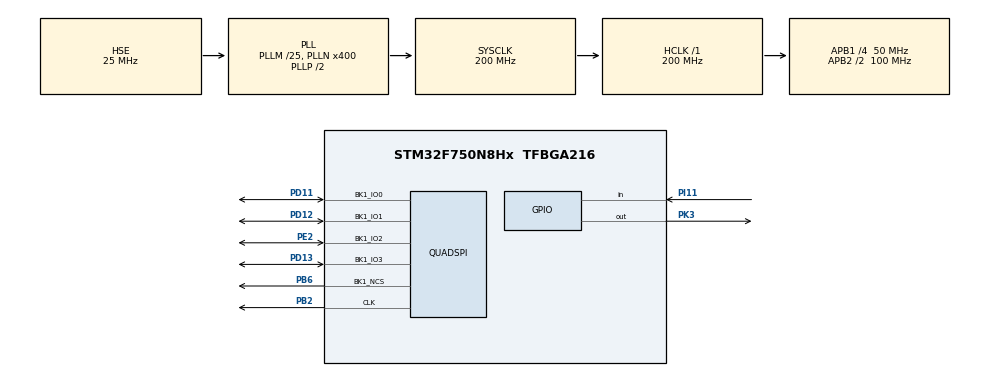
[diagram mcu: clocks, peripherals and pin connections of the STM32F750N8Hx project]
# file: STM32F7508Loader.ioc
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CORTEX_M7.ART_ACCLERATOR_ENABLE=1
CORTEX_M7.CPU_DCache=Enabled
CORTEX_M7.CPU_ICache=Enabled
CORTEX_M7.PREFETCH_ENABLE=1
Mcu.Family=STM32F7
Mcu.Name=STM32F750N8Hx
Mcu.Package=TFBGA216
NVIC.PriorityGroup=NVIC_PRIORITYGROUP_4
PA13.Mode=Serial_Wire
PA13.Signal=SYS_JTMS-SWDIO
PA14.Mode=Serial_Wire
PA14.Signal=SYS_JTCK-SWCLK
PB2.Mode=Single Bank 1
PB2.Signal=QUADSPI_CLK
PB6.Mode=Single Bank 1
PB6.Signal=QUADSPI_BK1_NCS
PC14/OSC32_IN.Mode=LSE-External-Oscillator
PC14/OSC32_IN.Signal=RCC_OSC32_IN
PC15/OSC32_OUT.Mode=LSE-External-Oscillator
PC15/OSC32_OUT.Signal=RCC_OSC32_OUT
PD11.Mode=Single Bank 1
PD11.Signal=QUADSPI_BK1_IO0
PD12.Mode=Single Bank 1
PD12.Signal=QUADSPI_BK1_IO1
PD13.Mode=Single Bank 1
PD13.Signal=QUADSPI_BK1_IO3
PE2.Mode=Single Bank 1
PE2.Signal=QUADSPI_BK1_IO2
PH0/OSC_IN.Mode=HSE-External-Oscillator
PH0/OSC_IN.Signal=RCC_OSC_IN
PH1/OSC_OUT.Mode=HSE-External-Oscillator
PH1/OSC_OUT.Signal=RCC_OSC_OUT
PI11.Signal=GPIO_Input
PK3.Signal=GPIO_Output
ProjectManager.HeapSize=0x200
ProjectManager.StackSize=0x400
ProjectManager.TargetToolchain=STM32CubeIDE
QUADSPI.ChipSelectHighTime=QSPI_CS_HIGH_TIME_6_CYCLE
QUADSPI.ClockPrescaler=1
QUADSPI.FifoThreshold=4
QUADSPI.FlashSize=24
QUADSPI.SampleShifting=QSPI_SAMPLE_SHIFTING_HALFCYCLE
RCC.AHBFreq_Value=200000000
RCC.APB1CLKDivider=RCC_HCLK_DIV4
RCC.APB1Freq_Value=50000000
RCC.APB1TimFreq_Value=100000000
RCC.APB2CLKDivider=RCC_HCLK_DIV2
RCC.APB2Freq_Value=100000000
RCC.APB2TimFreq_Value=200000000
RCC.CortexFreq_Value=200000000
RCC.HCLKFreq_Value=200000000
RCC.HSE_VALUE=25000000
RCC.HSI_VALUE=16000000
RCC.PLLM=25
RCC.PLLN=400
RCC.PLLSourceVirtual=RCC_PLLSOURCE_HSE
RCC.RTCClockSelection=RCC_RTCCLKSOURCE_LSE
RCC.SYSCLKFreq_VALUE=200000000
RCC.SYSCLKSource=RCC_SYSCLKSOURCE_PLLCLK
RCC.USBFreq_Value=200000000
RCC.VCOOutputFreq_Value=400000000
VP_RTC_VS_RTC_Activate.Mode=RTC_Enabled
board=custom

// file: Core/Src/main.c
/* USER CODE BEGIN Header */
/**
  ******************************************************************************
  * @file           : main.c
  * @brief          : Main program body
  ******************************************************************************
  * @attention
  *
  * <h2><center>&copy; Copyright (c) 2021 STMicroelectronics.
  * All rights reserved.</center></h2>
  *
  * This software component is licensed by ST under BSD 3-Clause license,
  * the "License"; You may not use this file except in compliance with the
  * License. You may obtain a copy of the License at:
  *                        opensource.org/licenses/BSD-3-Clause
  *
  ******************************************************************************
  */
/* USER CODE END Header */
#include "main.h"
#include "quadspi.h"
#include "rtc.h"
#include "gpio.h"

/* USER CODE BEGIN Includes */
#include <string.h>
/* USER CODE END Includes */

void SystemClock_Config(void);

/* USER CODE BEGIN 0 */
#define main bl_main

#define SECTORS_COUNT 5

uint8_t buffer_test[MEMORY_SECTOR_SIZE];

typedef void(*pFunction)(void);
pFunction JumpToApplication;
#define APP_ADDRESS 0x90000000
#define APP_STACK   (APP_ADDRESS + 0)
#define APP_RESET_HANDLER (APP_ADDRESS + 4)

void JumpToAPP(void)
{
    uint32_t JumpAddress = *(__IO uint32_t*)APP_RESET_HANDLER;
    JumpToApplication = (pFunction)JumpAddress;
    __set_MSP(*(__IO uint32_t*)APP_STACK);
    JumpToApplication();
}
/* USER CODE END 0 */

int main(void)
{
  /* USER CODE BEGIN 1 */
  //uint32_t var = 0;
  /* USER CODE END 1 */

  /* Enable I-Cache---------------------------------------------------------*/
  SCB_EnableICache();

  /* Enable D-Cache---------------------------------------------------------*/
  SCB_EnableDCache();

  /* MCU Configuration--------------------------------------------------------*/

  /* Reset of all peripherals, Initializes the Flash interface and the Systick. */
  HAL_Init();

  /* Configure the system clock */
  SystemClock_Config();

  /* USER CODE BEGIN SysInit */
//
  /* USER CODE END SysInit */

  /* Initialize all configured peripherals */
  MX_GPIO_Init();
  MX_QUADSPI_Init();
  MX_RTC_Init();
  /* USER CODE BEGIN 2 */
  CSP_QUADSPI_Init();
//  for (var = 0; var < MEMORY_SECTOR_SIZE; var++) {
//      buffer_test[var] = (var & 0xFF);
//  }
//  for (var = 0; var < SECTORS_COUNT; var++) {
//      if (CSP_QSPI_EraseSector(var * MEMORY_SECTOR_SIZE, (var + 1) * MEMORY_SECTOR_SIZE - 1) != HAL_OK) {
//          while (1) {}
//      }
//      if (CSP_QSPI_WriteMemory(buffer_test, var * MEMORY_SECTOR_SIZE, sizeof(buffer_test)) != HAL_OK) {
//          while (1) {}
//      }
//  }
  if (CSP_QSPI_EnableMemoryMappedMode() != HAL_OK) {
      while (1) {}
  }
//  for (var = 0; var < SECTORS_COUNT; var++) {
//      if (memcmp(buffer_test, (uint8_t*) (0x90000000 + var * MEMORY_SECTOR_SIZE), MEMORY_SECTOR_SIZE) != HAL_OK) {
//          while (1) {}
//      }
//  }
//  HAL_Delay(1000);

  SCB_DisableICache();
  SCB_DisableDCache();
  HAL_DeInit();
  SysTick->CTRL = 0;

  JumpToAPP();
  /* USER CODE END 2 */

  /* Infinite loop */
  while (1)
  {

    /* USER CODE BEGIN 3 */

//	 HAL_GPIO_TogglePin(GPIOK, GPIO_PIN_3);
//	if(HAL_GPIO_ReadPin(GPIOI ,GPIO_PIN_11))
//	{
//		SysTick->CTRL = 0;
//		JumpToAPP();
//	}
//	HAL_Delay(1000);
  }
  /* USER CODE END 3 */
}

void SystemClock_Config(void)
{
  RCC_OscInitTypeDef RCC_OscInitStruct = {0};
  RCC_ClkInitTypeDef RCC_ClkInitStruct = {0};
  RCC_PeriphCLKInitTypeDef PeriphClkInitStruct = {0};

  /** Configure LSE Drive Capability
  */
  HAL_PWR_EnableBkUpAccess();
  __HAL_RCC_LSEDRIVE_CONFIG(RCC_LSEDRIVE_LOW);
  /** Configure the main internal regulator output voltage
  */
  __HAL_RCC_PWR_CLK_ENABLE();
  __HAL_PWR_VOLTAGESCALING_CONFIG(PWR_REGULATOR_VOLTAGE_SCALE1);
  /** Initializes the RCC Oscillators according to the specified parameters
  * in the RCC_OscInitTypeDef structure.
  */
  RCC_OscInitStruct.OscillatorType = RCC_OSCILLATORTYPE_HSE|RCC_OSCILLATORTYPE_LSE;
  RCC_OscInitStruct.HSEState = RCC_HSE_ON;
  RCC_OscInitStruct.LSEState = RCC_LSE_ON;
  RCC_OscInitStruct.PLL.PLLState = RCC_PLL_ON;
  RCC_OscInitStruct.PLL.PLLSource = RCC_PLLSOURCE_HSE;
  RCC_OscInitStruct.PLL.PLLM = 25;
  RCC_OscInitStruct.PLL.PLLN = 400;
  RCC_OscInitStruct.PLL.PLLP = RCC_PLLP_DIV2;
  RCC_OscInitStruct.PLL.PLLQ = 2;
  if (HAL_RCC_OscConfig(&RCC_OscInitStruct) != HAL_OK)
  {
    Error_Handler();
  }
  /** Activate the Over-Drive mode
  */
  if (HAL_PWREx_EnableOverDrive() != HAL_OK)
  {
    Error_Handler();
  }
  /** Initializes the CPU, AHB and APB buses clocks
  */
  RCC_ClkInitStruct.ClockType = RCC_CLOCKTYPE_HCLK|RCC_CLOCKTYPE_SYSCLK
                              |RCC_CLOCKTYPE_PCLK1|RCC_CLOCKTYPE_PCLK2;
  RCC_ClkInitStruct.SYSCLKSource = RCC_SYSCLKSOURCE_PLLCLK;
  RCC_ClkInitStruct.AHBCLKDivider = RCC_SYSCLK_DIV1;
  RCC_ClkInitStruct.APB1CLKDivider = RCC_HCLK_DIV4;
  RCC_ClkInitStruct.APB2CLKDivider = RCC_HCLK_DIV2;

  if (HAL_RCC_ClockConfig(&RCC_ClkInitStruct, FLASH_LATENCY_6) != HAL_OK)
  {
    Error_Handler();
  }
  PeriphClkInitStruct.PeriphClockSelection = RCC_PERIPHCLK_RTC;
  PeriphClkInitStruct.RTCClockSelection = RCC_RTCCLKSOURCE_LSE;
  if (HAL_RCCEx_PeriphCLKConfig(&PeriphClkInitStruct) != HAL_OK)
  {
    Error_Handler();
  }
}

void Error_Handler(void)
{
  __disable_irq();
  while (1)
  {
  }
}

/************************ (C) COPYRIGHT STMicroelectronics *****END OF FILE****/
